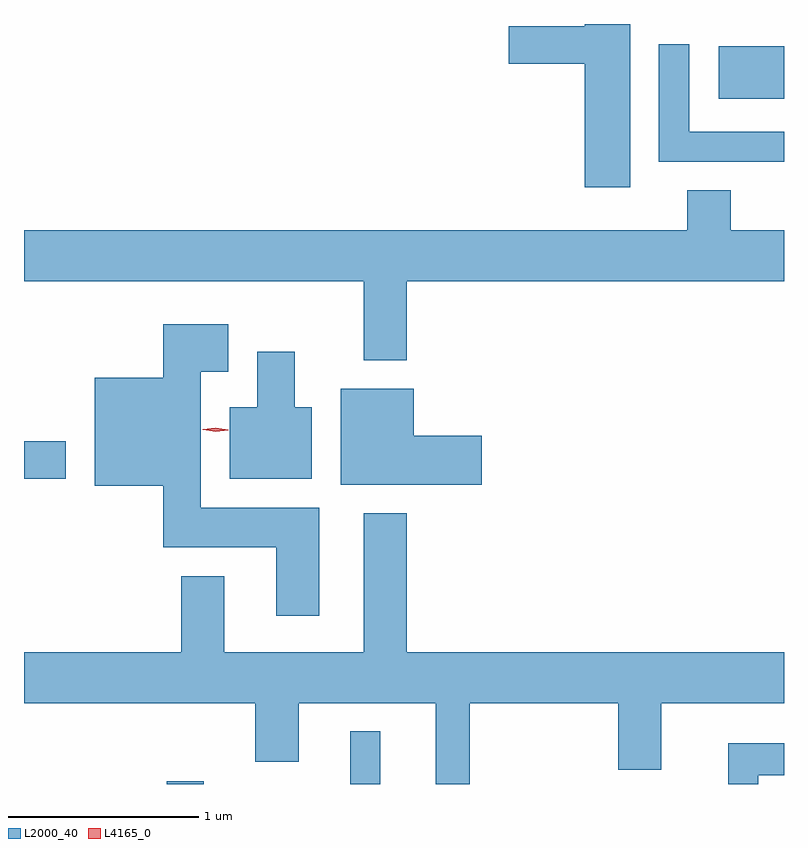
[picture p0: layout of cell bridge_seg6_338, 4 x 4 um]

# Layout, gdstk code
import gdstk
lib = gdstk.Library(unit=1e-6, precision=1e-09)
def R(c, l, rs):  # rectangles x0, y0, x1, y1
    for r in rs: c.add(gdstk.rectangle(r[:2], r[2:], *l))
def P(c, l, *ps):  # polygons
    for p in ps: c.add(gdstk.Polygon(p, *l))
L2000_40 = (2000, 40)
L4165_0 = (4165, 0)

bridge_seg6_338 = lib.new_cell('bridge_seg6_338')
R(bridge_seg6_338, L2000_40, [(1266.486,1558.49,1266.679,1558.504), (1267.451,1558.49,1267.609,1558.768), (1265.734,1560.096,1265.954,1560.294), (1269.391,1562.096,1269.734,1562.374)])
P(bridge_seg6_338, L2000_40, [(1268.924,1562.49),(1268.686,1562.49),(1268.686,1562.479),(1268.286,1562.479),(1268.286,1562.281),(1268.686,1562.281),(1268.686,1561.631),(1268.924,1561.631)],
  [(1269.734,1561.924),(1269.234,1561.924),(1269.234,1562.383),(1269.076,1562.383),(1269.076,1561.766),(1269.734,1561.766)],
  [(1267.749,1561.136),(1269.734,1561.136),(1269.734,1561.404),(1269.454,1561.404),(1269.454,1561.614),(1269.226,1561.614),(1269.226,1561.404),(1265.734,1561.404),(1265.734,1561.136),(1267.521,1561.136),(1267.521,1560.721),(1267.749,1560.721)],
  [(1267.289,1559.944),(1266.664,1559.944),(1266.664,1560.661),(1266.809,1560.661),(1266.809,1560.909),(1266.466,1560.909),(1266.466,1560.629),(1266.106,1560.629),(1266.106,1560.061),(1266.466,1560.061),(1266.466,1559.736),(1267.061,1559.736),(1267.061,1559.376),(1267.289,1559.376)],
  [(1267.249,1560.474),(1267.159,1560.474),(1267.159,1560.764),(1266.961,1560.764),(1266.961,1560.474),(1266.816,1560.474),(1266.816,1560.096),(1267.249,1560.096)],
  [(1268.144,1560.324),(1267.784,1560.324),(1267.784,1560.569),(1267.401,1560.569),(1267.401,1560.066),(1268.144,1560.066)],
  [(1266.561,1559.584),(1266.561,1559.184),(1265.734,1559.184),(1265.734,1558.916),(1266.951,1558.916),(1266.951,1558.606),(1267.179,1558.606),(1267.179,1558.916),(1267.901,1558.916),(1267.901,1558.49),(1268.079,1558.49),(1268.079,1558.916),(1268.861,1558.916),(1268.861,1558.566),(1269.089,1558.566),(1269.089,1558.916),(1269.734,1558.916),(1269.734,1559.184),(1267.749,1559.184),(1267.749,1559.914),(1267.521,1559.914),(1267.521,1559.184),(1266.789,1559.184),(1266.789,1559.584)],
  [(1269.599,1558.536),(1269.734,1558.536),(1269.734,1558.704),(1269.441,1558.704),(1269.441,1558.49),(1269.599,1558.49)])
P(bridge_seg6_338, L4165_0, [(1266.742,1560.345),(1266.676,1560.355),(1266.676,1560.356),(1266.676,1560.356),(1266.742,1560.364),(1266.808,1560.354),(1266.808,1560.353),(1266.808,1560.353)])

lib.write_gds('bridge_seg6_338.gds')
